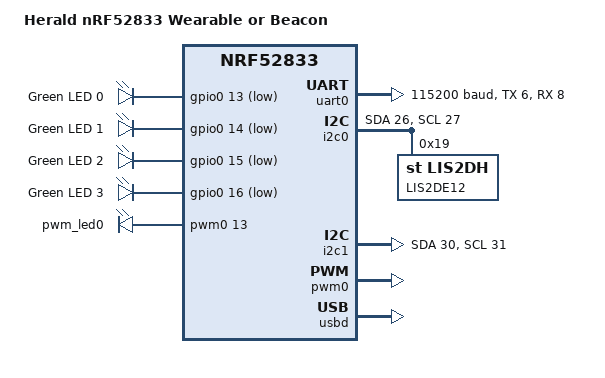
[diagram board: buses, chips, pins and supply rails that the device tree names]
/*
 * Copyright (c) 2021 The Herald Project Contributors
 * 
 * SPDX-License-Identifier: Apache-2.0
 */

/dts-v1/;
#include <nordic/nrf52833_qiaa.dtsi>


/ {
	model = "Herald nRF52833 Wearable or Beacon";
	compatible = "nrf52833";

	chosen {
		zephyr,console = &uart0;
		zephyr,shell-uart = &uart0;
		zephyr,uart-mcumgr = &uart0;
		zephyr,bt-mon-uart = &uart0;
		zephyr,bt-c2h-uart = &uart0;
		zephyr,sram = &sram0;
		zephyr,flash = &flash0;
		zephyr,code-partition = &slot0_partition;
	};

	leds {
		compatible = "gpio-leds";
		led0: led_0 {
			gpios = <&gpio0 13 GPIO_ACTIVE_LOW>;
			label = "Green LED 0";
		};
		led1: led_1 {
			gpios = <&gpio0 14 GPIO_ACTIVE_LOW>;
			label = "Green LED 1";
		};
		led2: led_2 {
			gpios = <&gpio0 15 GPIO_ACTIVE_LOW>;
			label = "Green LED 2";
		};
		led3: led_3 {
			gpios = <&gpio0 16 GPIO_ACTIVE_LOW>;
			label = "Green LED 3";
		};
	};

	pwmleds {
		compatible = "pwm-leds";
		pwm_led0: pwm_led_0 {
			pwms = <&pwm0 13>;
		};
	};

	/* Declaration of aliases */
	aliases {
		led0 = &led0;
		led1 = &led1;
		led2 = &led2;
		led3 = &led3;
		pwm-led0 = &pwm_led0;
	};
};

&gpiote {
	status = "okay";
};

&gpio0 {
	status = "okay";
};

&gpio1 {
	status = "okay";
};

&uart0 {
	compatible = "nordic,nrf-uart";
	current-speed = <115200>;
	status = "okay";
	tx-pin = <6>;
	rx-pin = <8>;
	rts-pin = <5>;
	cts-pin = <7>;
};

&i2c0 {
	compatible = "nordic,nrf-twi";
  status = "okay";
	sda-pin = <26>;
	scl-pin = <27>;

  /* ST Microelectronics LIS2DE12 motion sensor */
  lis2de@19 { /* Pulled HIGH via VDD. 18 if to GND instead */
    compatible = "st,lis2dh";
    label = "LIS2DE12";
    reg = <0x19>; /* Pulled HIGH via VDD. 18 if to GND instead */
		/*irq-gpios = <&gpio0 15 0>;*/
  };
};

&i2c1 {
	compatible = "nordic,nrf-twi";
	/* Cannot be used together with spi1. */
	/* status = "okay"; */
	sda-pin = <30>;
	scl-pin = <31>;
};

&pwm0 {
	status = "okay";
	ch0-pin = <13>;
	ch0-inverted;
};

&flash0 {

	partitions {
		compatible = "fixed-partitions";
		#address-cells = <1>;
		#size-cells = <1>;

		boot_partition: partition@0 {
			label = "mcuboot";
			reg = <0x000000000 0xC000>;
		};
		slot0_partition: partition@c000 {
			label = "image-0";
			reg = <0x0000C000 0x32000>;
		};
		slot1_partition: partition@3e000 {
			label = "image-1";
			reg = <0x0003E000 0x32000>;
		};
		scratch_partition: partition@70000 {
			label = "image-scratch";
			reg = <0x00070000 0xA000>;
		};
		storage_partition: partition@7a000 {
			label = "storage";
			reg = <0x0007A000 0x00006000>;
		};
	};
};

&usbd {
	compatible = "nordic,nrf-usbd";
	status = "okay";
};
